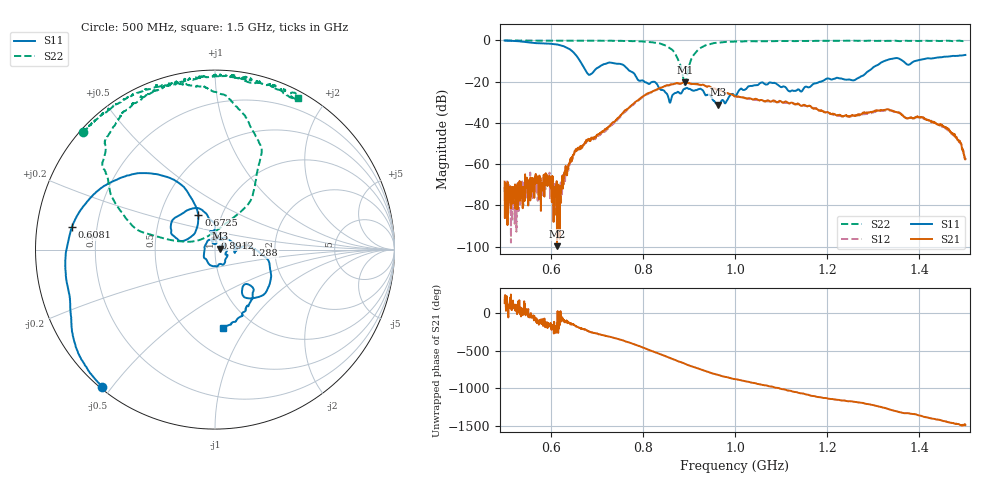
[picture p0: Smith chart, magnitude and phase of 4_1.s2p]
!Agilent Technologies,E8364B,US42250235,A.06.04.32
!Agilent E8364B: A.06.04.32
!Date: Friday, January 15, 2021 14:37:36
!Correction: S11(Full 2 Port(1,2)) S21(Full 2 Port(1,2)) S12(Full 2 Port(1,2)) S22(Full 2 Port(1,2))
!S2P File: Measurements: S11, S21, S12, S22:
# Hz S  dB  R 50
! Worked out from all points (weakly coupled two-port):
!   1601 points, 500 MHz to 1.5 GHz, reference 50 ohm
!   highest |S21| = -20.35 dB at 891.2 MHz (marker M1); lowest = -99.8 dB at 613.8 MHz (marker M2)
!   lowest |S11| = -31.2 dB at 962.5 MHz (marker M3), VSWR 1.06, Z = 52.8 + j0.639 ohm
!   |S11| at or under -10 dB: 663.5 MHz to 1.325 GHz (661.6 MHz wide, 66.5 % of centre); 1.364 GHz to 1.392 GHz (27.89 MHz wide, 2.02 % of centre)
!   |S22| runs from -21.4 to -0.1 dB; largest |S21 - S12| = 0.0045
!   S11 on the Smith chart (normalised r, x): 500 MHz: 0.01, -0.47; 608.1 MHz: 0.11, +0.08; 672.5 MHz: 0.77, +0.31; 891.2 MHz: 0.99, +0.13; 1.288 GHz: 1.41, +0.07; 1.5 GHz: 0.73, -0.80
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5e8  -0.10 -129.5  -68.54 126.2  -71.12 77.2  -0.14 138.3
5.1e8  -0.17 -134.2  -76.88 63.0  -70.39 72.1  -0.16 136.9
5.925e8  -1.57 -176.6  -67.27 -128.1  -66.97 -151.3  -0.15 129.4
6.08125e8  -1.86 171.0  -84.85 104.7  -70.39 174.0  -0.16 127.1
6.1375e8  -2.05 166.0  -99.82 -142.5  -83.08 100.3  -0.13 127.4
6.1875e8  -2.31 160.7  -75.77 -145.3  -74.33 -174.9  -0.19 127.5
6.425e8  -4.55 134.0  -58.57 -154.8  -58.54 -143.9  -0.17 124.5
6.66875e8  -11.22 114.2  -51.86 148.2  -51.89 142.0  -0.18 121.2
6.725e8  -13.40 115.8  -50.29 140.9  -50.69 134.4  -0.21 120.7
7.525e8  -11.55 121.7  -36.32 2.6  -36.75 1.4  -0.28 110.0
8.3375e8  -22.55 82.1  -23.46 -178.6  -23.72 -177.2  -1.41 84.9
8.675e8  -25.92 104.7  -21.20 101.8  -21.23 103.2  -5.58 62.5
8.9125e8  -23.42 89.1  -20.35 44.8  -20.52 45.8  -21.44 123.8
9.15625e8  -24.17 55.3  -21.19 -7.9  -21.37 -7.6  -5.71 161.2
9.625e8  -31.16 12.6  -24.10 -100.3  -23.98 -98.7  -1.22 133.4
1e9  -27.14 0.7  -27.19 -157.1  -27.24 -155.3  -0.64 119.8
1.0575e9  -20.48 -58.7  -28.93 130.7  -29.35 132.1  -0.44 111.1
1.166875e9  -21.74 55.0  -32.68 -18.6  -32.72 -12.1  -0.37 97.1
1.2875e9  -15.27 8.4  -35.14 -125.0  -35.66 -121.6  -0.25 83.2
1.33375e9  -9.28 -24.3  -33.66 165.4  -34.04 173.3  -0.30 78.9
1.454375e9  -7.99 -67.4  -41.98 9.3  -42.11 13.9  -0.30 66.2
1.5e9  -7.12 -83.9  -57.56 -41.5  -58.18 -34.8  -0.33 61.3
